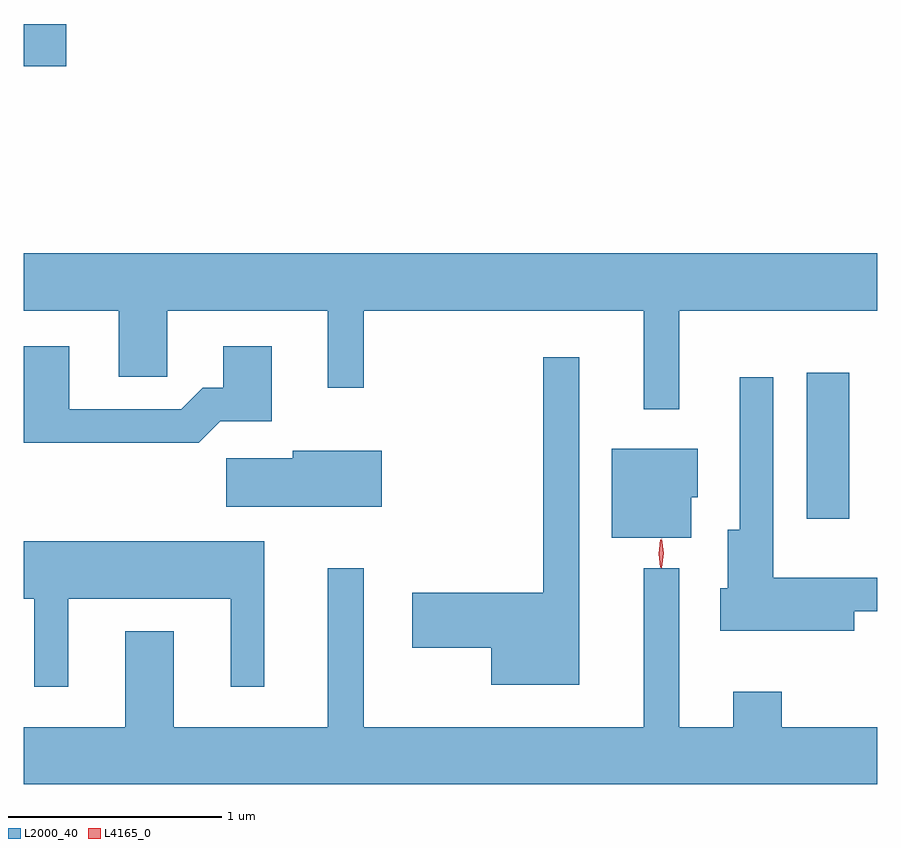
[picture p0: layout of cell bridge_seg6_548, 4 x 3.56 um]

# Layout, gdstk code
import gdstk
lib = gdstk.Library(unit=1e-6, precision=1e-09)
def R(c, l, rs):  # rectangles x0, y0, x1, y1
    for r in rs: c.add(gdstk.rectangle(r[:2], r[2:], *l))
def P(c, l, *ps):  # polygons
    for p in ps: c.add(gdstk.Polygon(p, *l))
L2000_40 = (2000, 40)
L4165_0 = (4165, 0)

bridge_seg6_548 = lib.new_cell('bridge_seg6_548')
R(bridge_seg6_548, L2000_40, [(493.166,1653.401,493.364,1654.084), (489.496,1655.521,489.694,1655.719)])
P(bridge_seg6_548, L2000_40, [(492.569,1654.376),(493.496,1654.376),(493.496,1654.644),(489.496,1654.644),(489.496,1654.376),(489.941,1654.376),(489.941,1654.066),(490.169,1654.066),(490.169,1654.376),(490.921,1654.376),(490.921,1654.013),(491.089,1654.013),(491.089,1654.376),(492.401,1654.376),(492.401,1653.913),(492.569,1653.913)],
  [(490.417,1653.856),(490.659,1653.856),(490.659,1654.209),(490.431,1654.209),(490.431,1654.014),(490.334,1654.014),(490.234,1653.914),(489.709,1653.914),(489.709,1654.209),(489.496,1654.209),(489.496,1653.756),(490.317,1653.756)],
  [(492.099,1654.158),(491.931,1654.158),(491.931,1653.054),(491.316,1653.054),(491.316,1652.796),(491.686,1652.796),(491.686,1652.621),(492.099,1652.621)],
  [(493.389,1652.966),(493.496,1652.966),(493.496,1653.124),(493.009,1653.124),(493.009,1654.063),(492.851,1654.063),(492.851,1653.349),(492.796,1653.349),(492.796,1653.074),(492.761,1653.074),(492.761,1652.876),(493.389,1652.876)],
  [(492.624,1653.501),(492.654,1653.501),(492.654,1653.729),(492.251,1653.729),(492.251,1653.311),(492.624,1653.311)],
  [(491.174,1653.719),(490.756,1653.719),(490.756,1653.684),(490.446,1653.684),(490.446,1653.456),(491.174,1653.456)],
  [(489.704,1653.026),(490.466,1653.026),(490.466,1652.613),(490.624,1652.613),(490.624,1653.294),(489.496,1653.294),(489.496,1653.026),(489.546,1653.026),(489.546,1652.613),(489.704,1652.613)],
  [(493.496,1652.424),(493.049,1652.424),(493.049,1652.589),(492.821,1652.589),(492.821,1652.424),(492.569,1652.424),(492.569,1653.168),(492.401,1653.168),(492.401,1652.424),(491.089,1652.424),(491.089,1653.168),(490.921,1653.168),(490.921,1652.424),(490.199,1652.424),(490.199,1652.874),(489.971,1652.874),(489.971,1652.424),(489.496,1652.424),(489.496,1652.157),(493.496,1652.157)])
P(bridge_seg6_548, L4165_0, [(492.481,1653.172),(492.48,1653.173),(492.471,1653.237),(492.48,1653.301),(492.481,1653.301),(492.481,1653.301),(492.491,1653.237),(492.481,1653.173)],
  [(492.485,1653.169),(492.484,1653.17),(492.475,1653.238),(492.485,1653.306),(492.486,1653.306),(492.486,1653.306),(492.495,1653.238),(492.485,1653.17)])

lib.write_gds('bridge_seg6_548.gds')
